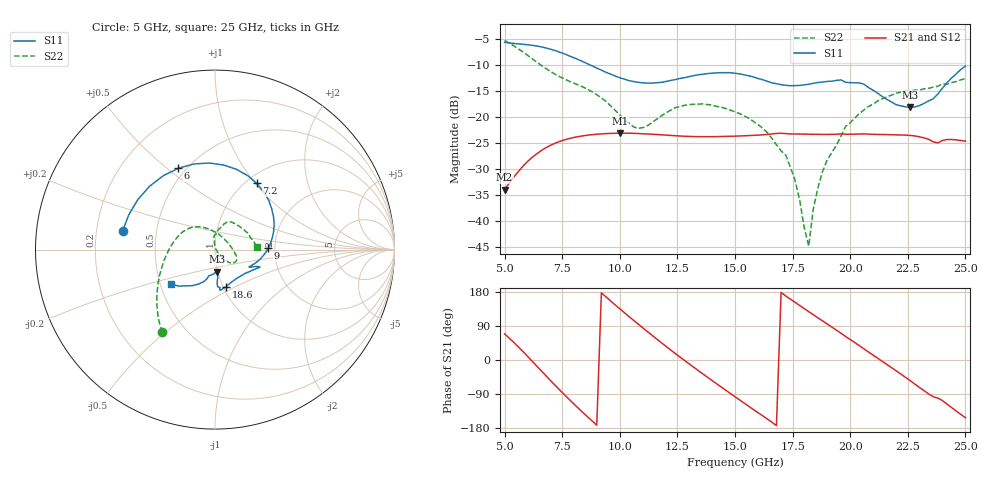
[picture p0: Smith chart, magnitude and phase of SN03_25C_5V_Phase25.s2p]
!File name = SN03_25C_5V_Phase25.s2p
!Date = 2/3/2014
!Time = 2:36 PM
!Test duration(min) = 0.07
!Test = SPars
!MPTS version = 7.120.8
!Comments =
!set_LD1(binary) = 25
!set_LD2(binary) = 524262
!test = SPars
!date_code = 20140203
!file_name = SN03_25C_5V_Phase25.s2p
!VREF(V) = 5.000
!VREF(mA) = 0.001
# GHz  S  DB  R  50
!%	Freq(GHz)  S11(dB)  S11(deg)  S21(dB)  S21(deg)  S12(dB)  S12(deg)  S22(dB)  S22(deg)
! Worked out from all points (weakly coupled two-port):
!   101 points, 5 GHz to 25 GHz, reference 50 ohm
!   highest |S21| = -23.07 dB at 10 GHz (marker M1); lowest = -33.9 dB at 5 GHz (marker M2)
!   lowest |S11| = -18.1 dB at 22.6 GHz (marker M3), VSWR 1.28, Z = 49.8 - j12.5 ohm
!   |S11| at or under -10 dB: 8.733 GHz to end of sweep
!   |S22| runs from -44.8 to -5.2 dB; largest |S21 - S12| = 0.00031
!   S11 on the Smith chart (normalised r, x): 5 GHz: 0.31, +0.09; 6 GHz: 0.45, +0.55; 7.2 GHz: 1.12, +1.02; 9 GHz: 1.84, +0.03; 18.6 GHz: 1.03, -0.45; 25 GHz: 0.57, -0.24
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5  -5.60 168.8  -33.94 69.0  -33.95 69.0  -5.24 -122.5
6  -6.07 114.3  -28.49 9.4  -28.50 9.4  -8.12 -145.0
7.2  -7.20 57.8  -24.98 -67.2  -25.01 -67.0  -11.76 -179.3
8.4  -9.32 17.2  -23.58 -138.6  -23.61 -138.5  -14.19 145.0
9  -10.55 1.6  -23.27 -172.0  -23.30 -171.9  -15.67 129.6
10  -12.41 -17.6  -23.07 135.1  -23.09 135.3  -19.58 96.7
10.8  -13.30 -25.6  -23.14 94.6  -23.15 94.6  -22.15 47.6
11.8  -13.30 -26.6  -23.38 45.8  -23.39 45.8  -19.74 -3.1
13.2  -12.01 -22.0  -23.72 -18.7  -23.71 -18.8  -17.51 -26.0
15  -11.55 -22.2  -23.64 -96.9  -23.63 -97.0  -18.97 -40.8
16.2  -12.78 -32.0  -23.38 -147.2  -23.40 -147.2  -22.13 -44.5
17.2  -13.87 -49.2  -23.14 169.1  -23.16 169.1  -27.26 -44.3
17.6  -13.92 -57.1  -23.22 152.6  -23.23 152.6  -32.02 -46.6
18.2  -13.67 -68.0  -23.27 127.7  -23.28 127.7  -44.79 52.2
18.4  -13.48 -71.0  -23.28 119.5  -23.30 119.5  -37.57 82.8
18.6  -13.32 -73.5  -23.29 111.3  -23.31 111.3  -33.56 93.9
19  -13.12 -77.5  -23.31 95.1  -23.32 95.1  -28.23 95.8
19.8  -13.29 -83.2  -23.26 62.1  -23.27 62.1  -21.78 91.7
21.8  -17.10 -83.2  -23.37 -20.4  -23.38 -20.4  -15.74 67.5
22.6  -18.10 -83.7  -23.50 -54.4  -23.52 -54.4  -14.91 56.6
23.6  -16.47 -103.6  -24.73 -96.7  -24.75 -96.6  -14.22 36.5
25  -10.18 -141.8  -24.60 -152.4  -24.62 -152.4  -12.56 3.7
